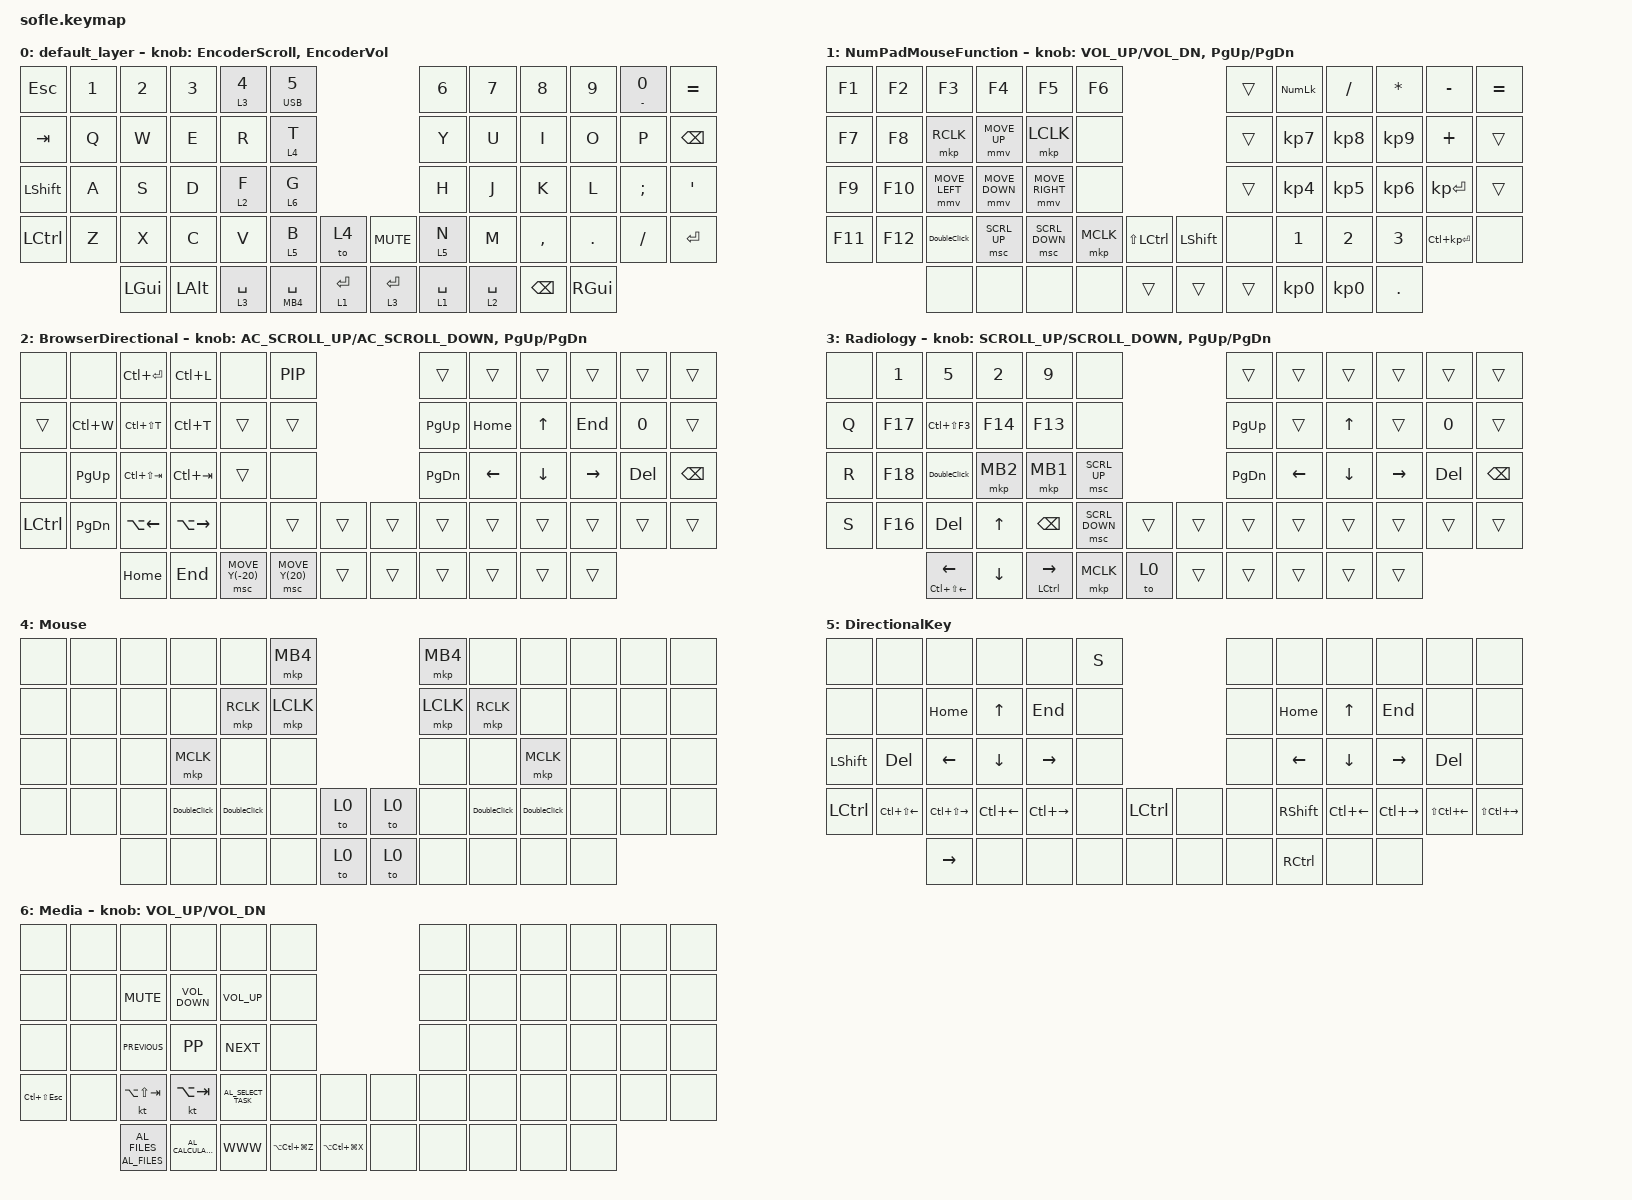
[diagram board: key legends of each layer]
/*
 * Copyright (c) 2020 The ZMK Contributors
 *
 * SPDX-License-Identifier: MIT
 */

#include <behaviors.dtsi>
#include <dt-bindings/zmk/keys.h>
#include <dt-bindings/zmk/pointing.h>

#define BASE 0
#define LOWER 1
#define RAISE 2
#define ADJUST 3

&inc_dec_kp {
    bindings = <&msc>, <&msc>;

    tap-ms = <5>;
};

/ {
    // Activate ADJUST layer by pressing raise and lower

    conditional_layers {
        compatible = "zmk,conditional-layers";

        adjust_layer {
            if-layers = <1 2>;
            then-layer = <6>;
        };
    };

    macros {
        DoubleClick: DoubleClick {
            compatible = "zmk,behavior-macro";
            #binding-cells = <0>;
            bindings = <&mkp MB1 &mkp MB1>;
            label = "DOUBLECLICK";
            wait-ms = <50>;
        };

        USB: USB {
            compatible = "zmk,behavior-macro";
            #binding-cells = <0>;
            bindings = <&kp S &kp H &kp E &kp N &kp S &kp I &kp Y &kp A &kp N &kp G>;
            label = "USB";
        };
    };

    combos {
        compatible = "zmk,combos";

        sysresetL {
            bindings = <&sys_reset>;
            key-positions = <1 2 3 4 54>;
        };

        dash {
            bindings = <&kp MINUS>;
            key-positions = <10 11>;
            layers = <0>;
        };

        leftClick {
            bindings = <&mkp MB1>;
            key-positions = <54 41>;
            layers = <0>;
        };

        rightClick {
            bindings = <&mkp MB2>;
            key-positions = <41 40>;
            layers = <0>;
        };

        middleClick {
            bindings = <&mkp MB3>;
            key-positions = <54 41 40>;
            layers = <0>;
        };

        doubleClick {
            bindings = <&DoubleClick>;
            key-positions = <54 51>;
            layers = <0>;
        };

        mouseFour {
            bindings = <&mkp MB4>;
            key-positions = <54 53 52 52>;
            layers = <0>;
        };

        sysresetR {
            bindings = <&sys_reset>;
            key-positions = <55 7 8 9 10>;
        };
    };

    behaviors {
        ClickHold: ClickHold {
            compatible = "zmk,behavior-hold-tap";
            label = "CLICKHOLD";
            bindings = <&mkp>, <&kp>;

            #binding-cells = <2>;
            tapping-term-ms = <150>;
        };

        clickClick: clickClick {
            compatible = "zmk,behavior-hold-tap";
            label = "CLICKCLICK";
            bindings = <&mkp>, <&mkp>;

            #binding-cells = <2>;
            tapping-term-ms = <200>;
        };

        EncoderScroll: EncoderScroll {
            compatible = "zmk,behavior-sensor-rotate";
            label = "ENCODERSCROLL";
            #sensor-binding-cells = <0>;
            bindings = <&msc MOVE_Y(72)>, <&msc MOVE_Y(-72)>;

            tap-ms = <20>;
        };

        EncoderScroll2: EncoderScroll2 {
            compatible = "zmk,behavior-sensor-rotate-var";
            label = "ENCODERSCROLL2";
            #sensor-binding-cells = <2>;
            bindings = <&msc>, <&msc>;
        };

        ToLayerTap: ToLayerTap {
            compatible = "zmk,behavior-hold-tap";
            label = "TOLAYERTAP";
            bindings = <&to>, <&kp>;

            #binding-cells = <2>;
            tapping-term-ms = <200>;
        };

        KPMacro: KPMacro {
            compatible = "zmk,behavior-hold-tap";
            label = "KPMACRO";
            bindings = <&USB>, <&kp>;

            #binding-cells = <2>;
            tapping-term-ms = <200>;
            flavor = "tap-preferred";
        };

        EncoderVol: EncoderVol {
            compatible = "zmk,behavior-sensor-rotate";
            label = "ENCODERVOL";
            #sensor-binding-cells = <0>;
            bindings = <&kp C_VOLUME_DOWN>, <&kp C_VOLUME_UP>;

            tap-ms = <20>;
        };
    };

    keymap {
        compatible = "zmk,keymap";

        default_layer {
            // ------------------------------------------------------------------------------------------------------------
            // |   `   |  1  |  2  |  3   |  4   |  5   |                   |  6   |  7    |  8    |  9   |   0   |       |
            // |  ESC  |  Q  |  W  |  E   |  R   |  T   |                   |  Y   |  U    |  I    |  O   |   P   | BKSPC |
            // |  TAB  |  A  |  S  |  D   |  F   |  G   |                   |  H   |  J    |  K    |  L   |   ;   |   '   |
            // | SHIFT |  Z  |  X  |  C   |  V   |  B   |  MUTE  |  |       |  N   |  M    |  ,    |  .   |   /   | SHIFT |
            //               | GUI | ALT  | CTRL | LOWER|  ENTER |  | SPACE | RAISE| CTRL  | ALT   | GUI  |

            bindings = <
&kp ESC         &kp N1  &kp N2        &kp N3    &ToLayerTap 3 NUMBER_4  &KPMacro 0 N5                                     &kp N6       &kp N7       &kp N8         &kp N9    &mt MINUS N0  &kp EQUAL
&kp TAB         &kp Q   &kp W         &kp E     &kp R                   &ToLayerTap 4 T                                   &kp Y        &kp U        &kp I          &kp O     &kp P         &kp BACKSPACE
&kp LEFT_SHIFT  &kp A   &kp S         &kp D     &lt 2 F                 &lt 6 G                                           &kp H        &kp J        &kp K          &kp L     &kp SEMI      &kp SQT
&kp LCTRL       &kp Z   &kp X         &kp C     &kp V                   &lt 5 B               &to 4          &kp C_MUTE   &lt 5 N      &kp M        &kp COMMA      &kp DOT   &kp FSLH      &kp RETURN
                        &kp LEFT_GUI  &kp LALT  &ToLayerTap 3 SPACE     &ClickHold MB4 SPACE  &lt 1 ENTER    &lt 3 ENTER  &lt 1 SPACE  &lt 2 SPACE  &kp BACKSPACE  &kp RGUI
            >;

            sensor-bindings = <&EncoderScroll>, <&EncoderVol>;
        };

        NumPadMouseFunction {
            // TODO: Some binds are waiting for shifted keycode support.
            // ------------------------------------------------------------------------------------------------------------
            // |       |  F1 |  F2 |  F3  |  F4  |  F5  |                   |  F6  |  F7   |  F8   |  F9  |  F10  |  F11  |
            // |   `   |  1  |  2  |  3   |  4   |  5   |                   |  6   |  7    |  8    |  9   |   0   |  F12  |
            // |       |  !  |  @  |  #   |  $   |  %   |                   |  ^   |  &    |  *    |  (   |   )   |   |   |
            // |       |  =  |  -  |  +   |  {   |  }   |        |  |       |  [   |  ]    |  ;    |  :   |   \   |       |
            //               |     |      |      |      |        |  |       |      |       |       |      |

            bindings = <
&kp F1   &kp F2   &kp F3          &kp F4          &kp F5           &kp F6                                 &trans  &kp KP_NUMLOCK   &kp SLASH        &kp ASTERISK     &kp MINUS         &kp EQUAL
&kp F7   &kp F8   &mkp RCLK       &mmv MOVE_UP    &mkp LCLK        &none                                  &trans  &kp KP_NUMBER_7  &kp KP_NUMBER_8  &kp KP_NUMBER_9  &kp PLUS          &trans
&kp F9   &kp F10  &mmv MOVE_LEFT  &mmv MOVE_DOWN  &mmv MOVE_RIGHT  &none                                  &trans  &kp KP_NUMBER_4  &kp KP_NUMBER_5  &kp KP_NUMBER_6  &kp KP_ENTER      &trans
&kp F11  &kp F12  &DoubleClick    &msc SCRL_UP    &msc SCRL_DOWN   &mkp MCLK  &kp LS(LCTRL)    &kp LSHFT  &none   &kp N1           &kp N2           &kp N3           &kp LC(KP_ENTER)  &none
                  &none           &none           &none            &none      &trans           &trans     &trans  &kp KP_N0        &kp KP_N0        &kp PERIOD
            >;

            sensor-bindings = <&inc_dec_kp C_VOL_UP C_VOL_DN &inc_dec_kp PG_UP PG_DN>;
        };

        BrowserDirectional {
            // ------------------------------------------------------------------------------------------------------------
            // | BTCLR | BT1  | BT2  |  BT3  |  BT4  |  BT5 |                |      |      |       |      |       |       |
            // |       | INS  | PSCR | GUI   |       |      |                | PGUP |      |   ^   |      |       |       |
            // |       | ALT  | CTRL | SHIFT |       | CAPS |                | PGDN |   <- |   v   |  ->  |  DEL  | BKSPC |
            // |       | UNDO | CUT  | COPY  | PASTE |      |      |  |      |      |      |       |      |       |       |
            //                |      |       |       |      |      |  |      |      |      |       |      |

            bindings = <
&none      &none      &kp LC(ENTER)    &kp LC(L)      &none             &kp C_PIP                          &trans     &trans    &trans    &trans     &trans   &trans
&trans     &kp LC(W)  &kp LC(LS(T))    &kp LC(T)      &trans            &trans                             &kp PG_UP  &kp HOME  &kp UP    &kp END    &kp N0   &trans
&none      &kp PG_UP  &kp LC(LS(TAB))  &kp LC(TAB)    &trans            &none                              &kp PG_DN  &kp LEFT  &kp DOWN  &kp RIGHT  &kp DEL  &kp BSPC
&kp LCTRL  &kp PG_DN  &kp LA(LEFT)     &kp LA(RIGHT)  &none             &trans           &trans    &trans  &trans     &trans    &trans    &trans     &trans   &trans
                      &kp HOME         &kp END        &msc MOVE_Y(-20)  &msc MOVE_Y(20)  &trans    &trans  &trans     &trans    &trans    &trans
            >;

            sensor-bindings =
                <&inc_dec_kp C_AC_SCROLL_UP C_AC_SCROLL_DOWN>,
                <&inc_dec_kp PG_UP PG_DN>;
        };

        Radiology {
            bindings = <
&none  &kp NUMBER_1  &kp N5                 &kp NUMBER_2  &kp N9                  &none                             &trans     &trans    &trans    &trans     &trans   &trans
&kp Q  &kp F17       &kp LC(LS(F3))         &kp F14       &kp F13                 &none                             &kp PG_UP  &trans    &kp UP    &trans     &kp N0   &trans
&kp R  &kp F18       &DoubleClick           &mkp MB2      &mkp MB1                &msc SCRL_UP                      &kp PG_DN  &kp LEFT  &kp DOWN  &kp RIGHT  &kp DEL  &kp BSPC
&kp S  &kp F16       &kp DELETE             &kp UP_ARROW  &kp BACKSPACE           &msc SCRL_DOWN  &trans    &trans  &trans     &trans    &trans    &trans     &trans   &trans
                     &mt LC(LS(LEFT)) LEFT  &kp DOWN      &mt LEFT_CONTROL RIGHT  &mkp MCLK       &to 0     &trans  &trans     &trans    &trans    &trans
            >;

            sensor-bindings =
                <&inc_dec_kp K_SCROLL_UP K_SCROLL_DOWN>,
                <&inc_dec_kp PG_UP PG_DN>;
        };

        Mouse {
            // ----------------------------------------------------------------------------------------------------------------------------
            // | BTCLR  |  BT1    |  BT2    |   BT3   |   BT4   |   BT5   |                  |      |      |       |      |       |       |
            // | EXTPWR | RGB_HUD | RGB_HUI | RGB_SAD | RGB_SAI | RGB_EFF |                  |      |      |       |      |       |       |
            // |        | RGB_BRD | RGB_BRI |         |         |         |                  |      |      |       |      |       |       |
            // |        |         |         |         |         |         | RGB_TOG | |      |      |      |       |      |       |       |
            //                    |         |         |         |         |         | |      |      |      |       |      |

            bindings = <
&none  &none  &none  &none         &none         &mkp MB4                   &mkp MB4   &none         &none         &none  &none  &none
&none  &none  &none  &none         &mkp RCLK     &mkp LCLK                  &mkp LCLK  &mkp RCLK     &none         &none  &none  &none
&none  &none  &none  &mkp MCLK     &none         &none                      &none      &none         &mkp MCLK     &none  &none  &none
&none  &none  &none  &DoubleClick  &DoubleClick  &none      &to 0    &to 0  &none      &DoubleClick  &DoubleClick  &none  &none  &none
              &none  &none         &none         &none      &to 0    &to 0  &none      &none         &none         &none
            >;
        };

        DirectionalKey {
            // ----------------------------------------------------------------------------------------------------------------------------
            // | BTCLR  |  BT1    |  BT2    |   BT3   |   BT4   |   BT5   |                  |      |      |       |      |       |       |
            // | EXTPWR | RGB_HUD | RGB_HUI | RGB_SAD | RGB_SAI | RGB_EFF |                  |      |      |       |      |       |       |
            // |        | RGB_BRD | RGB_BRI |         |         |         |                  |      |      |       |      |       |       |
            // |        |         |         |         |         |         | RGB_TOG | |      |      |      |       |      |       |       |
            //                    |         |         |         |         |         | |      |      |      |       |      |

            bindings = <
&none           &none             &none              &none         &none          &kp S                      &none  &none      &none         &none          &none             &none
&none           &none             &kp HOME           &kp UP        &kp END        &none                      &none  &kp HOME   &kp UP        &kp END        &none             &none
&kp LEFT_SHIFT  &kp DEL           &kp LEFT           &kp DOWN      &kp RIGHT      &none                      &none  &kp LEFT   &kp DOWN      &kp RIGHT      &kp DEL           &none
&kp LCTRL       &kp LC(LS(LEFT))  &kp LC(LS(RIGHT))  &kp LC(LEFT)  &kp LC(RIGHT)  &none  &kp LCTRL    &none  &none  &kp RSHFT  &kp LC(LEFT)  &kp LC(RIGHT)  &kp LS(LC(LEFT))  &kp LS(LC(RIGHT))
                                  &kp RIGHT          &none         &none          &none  &none        &none  &none  &kp RCTRL  &none         &none
            >;
        };

        Media {
            // ----------------------------------------------------------------------------------------------------------------------------
            // | BTCLR  |  BT1    |  BT2    |   BT3   |   BT4   |   BT5   |                  |      |      |       |      |       |       |
            // | EXTPWR | RGB_HUD | RGB_HUI | RGB_SAD | RGB_SAI | RGB_EFF |                  |      |      |       |      |       |       |
            // |        | RGB_BRD | RGB_BRI |         |         |         |                  |      |      |       |      |       |       |
            // |        |         |         |         |         |         | RGB_TOG | |      |      |      |       |      |       |       |
            //                    |         |         |         |         |         | |      |      |      |       |      |

            bindings = <
&none               &none  &none                      &none                &none                 &none                                          &none  &none  &none  &none  &none  &none
&none               &none  &kp K_MUTE                 &kp C_VOLUME_DOWN    &kp C_VOLUME_UP       &none                                          &none  &none  &none  &none  &none  &none
&none               &none  &kp K_PREVIOUS             &kp K_PP             &kp K_NEXT            &none                                          &none  &none  &none  &none  &none  &none
&kp LC(LS(ESCAPE))  &none  &kt LA(LS(TAB))            &kt LA(TAB)          &kp C_AL_SELECT_TASK  &none              &none                &none  &none  &none  &none  &none  &none  &none
                           &mt C_AL_FILES C_AL_FILES  &kp C_AL_CALCULATOR  &kp K_WWW             &kp LA(LC(LG(Z)))  &kp LA(LC(LG(X)))    &none  &none  &none  &none  &none
            >;

            sensor-bindings = <&inc_dec_kp C_VOLUME_UP C_VOL_DN>;
        };
    };
};
